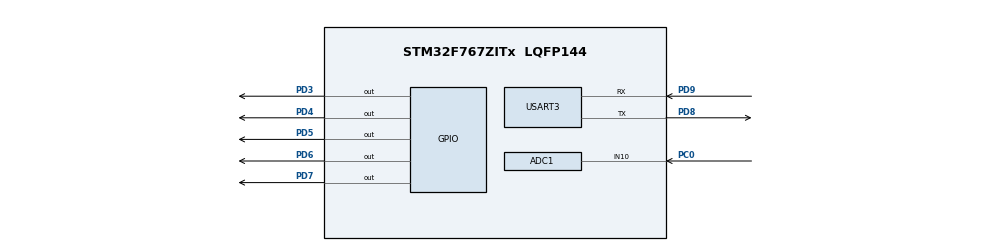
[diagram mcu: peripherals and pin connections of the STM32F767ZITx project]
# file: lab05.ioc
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ADC1.Channel-0\#ChannelRegularConversion=ADC_CHANNEL_10
ADC1.ContinuousConvMode=ENABLE
ADC1.EOCSelection=ADC_EOC_SEQ_CONV
ADC1.NbrOfConversionFlag=1
ADC1.Rank-0\#ChannelRegularConversion=1
ADC1.SamplingTime-0\#ChannelRegularConversion=ADC_SAMPLETIME_3CYCLES
ADC1.master=1
Mcu.Family=STM32F7
Mcu.Name=STM32F767ZITx
Mcu.Package=LQFP144
NVIC.PriorityGroup=NVIC_PRIORITYGROUP_4
PC0.Signal=ADCx_IN10
PD3.PinState=GPIO_PIN_SET
PD3.Signal=GPIO_Output
PD4.PinState=GPIO_PIN_SET
PD4.Signal=GPIO_Output
PD5.PinState=GPIO_PIN_SET
PD5.Signal=GPIO_Output
PD6.PinState=GPIO_PIN_SET
PD6.Signal=GPIO_Output
PD7.PinState=GPIO_PIN_SET
PD7.Signal=GPIO_Output
PD8.Mode=Asynchronous
PD8.Signal=USART3_TX
PD9.Mode=Asynchronous
PD9.Signal=USART3_RX
ProjectManager.HeapSize=0x200
ProjectManager.StackSize=0x400
ProjectManager.TargetToolchain=STM32CubeIDE
RCC.HSE_VALUE=25000000
RCC.HSI_VALUE=16000000
RCC.LSE_VALUE=32768
RCC.USBFreq_Value=96000000
RCC.VCOOutputFreq_Value=192000000
SH.ADCx_IN10.0=ADC1_IN10,IN10
USART3.VirtualMode-Asynchronous=VM_ASYNC
board=custom

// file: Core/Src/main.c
/* USER CODE BEGIN Header */
/**
 ******************************************************************************
 * @file           : main.c
 * @brief          : Main program body
 ******************************************************************************
 * @attention
 *
 * Copyright (c) 2022 STMicroelectronics.
 * All rights reserved.
 *
 * This software is licensed under terms that can be found in the LICENSE file
 * in the root directory of this software component.
 * If no LICENSE file comes with this software, it is provided AS-IS.
 *
 ******************************************************************************
 */
/* USER CODE END Header */
#include "main.h"
#include "adc.h"
#include "usart.h"
#include "gpio.h"

/* USER CODE BEGIN Includes */
#include "stdio.h"
#include "string.h"
/* USER CODE END Includes */

void SystemClock_Config(void);

/* USER CODE BEGIN 0 */
void displayHEX(uint32_t value) {
	char b[100];
	float x = (value * 3.3) / 4095;
	sprintf(b, "0x%08X x = %.2f real value = %d\n\r", value, x, value);
	HAL_UART_Transmit(&huart3, (uint32_t*) b, strlen(b), 1000);
	HAL_Delay(400);
}

int average_8(int x) {
	static int samples[8];
	static int i = 0;
	static total = 0;

	total += x - samples[i];
	samples[i] = x;

	i = (i == 7 ? 0 : i + 1);
	return total >> 3;
}

int average_16(int x) {
	static int samples[16];
	static int i = 0;
	static total = 0;

	total += x - samples[i];
	samples[i] = x;

	i = (i == 15 ? 0 : i + 1);
	return total >> 4;
}
int LED4(int l1, int l2, int l3, int l4) {
	HAL_GPIO_WritePin(GPIOD, GPIO_PIN_7, l1);
	HAL_GPIO_WritePin(GPIOD, GPIO_PIN_6, l2);
	HAL_GPIO_WritePin(GPIOD, GPIO_PIN_5, l3);
	HAL_GPIO_WritePin(GPIOD, GPIO_PIN_4, l4);
}

volatile uint32_t adc_val = 0;
int adc_avg_8 = 0;
int adc_avg_16 = 0;
/* USER CODE END 0 */

int main(void) {

	/* MCU Configuration--------------------------------------------------------*/

	/* Reset of all peripherals, Initializes the Flash interface and the Systick. */
	HAL_Init();

	/* Configure the system clock */
	SystemClock_Config();

	/* Initialize all configured peripherals */
	MX_GPIO_Init();
	MX_ADC1_Init();
	MX_USART3_UART_Init();
	/* USER CODE BEGIN 2 */
//volatile uint32_t adc_val = 0;
	HAL_ADC_Start(&hadc1);
	/* USER CODE END 2 */

	/* Infinite loop */
	while (1) {

		/* USER CODE BEGIN 3 */
		while (HAL_ADC_PollForConversion(&hadc1, 100) != HAL_OK) {
		}
		adc_val = HAL_ADC_GetValue(&hadc1);
//	  uint32_t hex1 = 501;
		displayHEX(adc_val);
		adc_avg_8 = average_8(adc_val);
		adc_avg_16 = average_16(adc_val);
//	  HAL_GPIO_WritePin(GPIOD, GPIO_PIN_7, RESET);
//	  HAL_GPIO_WritePin(GPIOD, GPIO_PIN_6, RESET);
//	  HAL_GPIO_WritePin(GPIOD, GPIO_PIN_5, RESET);
//	  HAL_GPIO_WritePin(GPIOD, GPIO_PIN_4, RESET);
		if (adc_val < 819) {
			LED4(1, 1, 1, 1);
		} else if (adc_val < 1638) {
			LED4(0, 1, 1, 1);
		} else if (adc_val < 2457) {
			LED4(0, 0, 1, 1);
		} else if (adc_val < 3276) {
			LED4(0, 0, 0, 1);
		} else if (adc_val < 4095) {
			LED4(0, 0, 0, 0);
		}
	}
	/* USER CODE END 3 */
}

void SystemClock_Config(void) {
	RCC_OscInitTypeDef RCC_OscInitStruct = { 0 };
	RCC_ClkInitTypeDef RCC_ClkInitStruct = { 0 };

	/** Configure the main internal regulator output voltage
	 */
	__HAL_RCC_PWR_CLK_ENABLE();
	__HAL_PWR_VOLTAGESCALING_CONFIG(PWR_REGULATOR_VOLTAGE_SCALE3);

	/** Initializes the RCC Oscillators according to the specified parameters
	 * in the RCC_OscInitTypeDef structure.
	 */
	RCC_OscInitStruct.OscillatorType = RCC_OSCILLATORTYPE_HSI;
	RCC_OscInitStruct.HSIState = RCC_HSI_ON;
	RCC_OscInitStruct.HSICalibrationValue = RCC_HSICALIBRATION_DEFAULT;
	RCC_OscInitStruct.PLL.PLLState = RCC_PLL_NONE;
	if (HAL_RCC_OscConfig(&RCC_OscInitStruct) != HAL_OK) {
		Error_Handler();
	}

	/** Initializes the CPU, AHB and APB buses clocks
	 */
	RCC_ClkInitStruct.ClockType = RCC_CLOCKTYPE_HCLK | RCC_CLOCKTYPE_SYSCLK
			| RCC_CLOCKTYPE_PCLK1 | RCC_CLOCKTYPE_PCLK2;
	RCC_ClkInitStruct.SYSCLKSource = RCC_SYSCLKSOURCE_HSI;
	RCC_ClkInitStruct.AHBCLKDivider = RCC_SYSCLK_DIV1;
	RCC_ClkInitStruct.APB1CLKDivider = RCC_HCLK_DIV1;
	RCC_ClkInitStruct.APB2CLKDivider = RCC_HCLK_DIV1;

	if (HAL_RCC_ClockConfig(&RCC_ClkInitStruct, FLASH_LATENCY_0) != HAL_OK) {
		Error_Handler();
	}
}

void Error_Handler(void) {
	__disable_irq();
	while (1) {
	}
}
